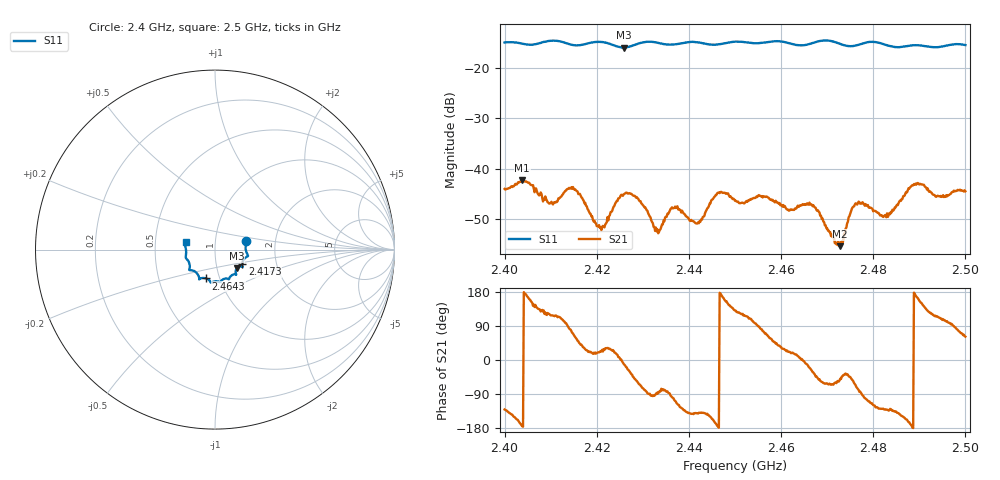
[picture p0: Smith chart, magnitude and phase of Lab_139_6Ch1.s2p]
# Hz S RI R 50
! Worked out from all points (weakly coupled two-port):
!   601 points, 2.4 GHz to 2.5 GHz, reference 50 ohm
!   highest |S21| = -42.29 dB at 2.4038 GHz (marker M1); lowest = -55.4 dB at 2.4728 GHz (marker M2)
!   lowest |S11| = -15.9 dB at 2.4258 GHz (marker M3), VSWR 1.38, Z = 62.3 - j13.2 ohm
!   |S11| at or under -10 dB: start of sweep to end of sweep
!   S12 and S22 are empty: the file has one direction only
!   S11 on the Smith chart (normalised r, x): 2.4 GHz: 1.41, +0.14; 2.4173 GHz: 1.34, -0.23; 2.4643 GHz: 0.86, -0.28; 2.5 GHz: 0.72, +0.06
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2.4e9  0.1731 0.0486  -0.00408 -0.00478  0 0  0 0
2.403833e9  0.1728 0.0271  -0.00765 -0.000704  0 0  0 0
2.41e9  0.1839 -0.0333  -0.0021 0.00402  0 0  0 0
2.414333e9  0.1639 -0.0501  0.0011 0.00625  0 0  0 0
2.416667e9  0.1527 -0.0746  0.00395 0.00336  0 0  0 0
2.417333e9  0.1516 -0.082  0.00388 0.00229  0 0  0 0
2.421167e9  0.1536 -0.0968  0.00234 0.00119  0 0  0 0
2.425833e9  0.1218 -0.1036  0.00546 -0.000971  0 0  0 0
2.429e9  0.1154 -0.1316  0.0025 -0.00436  0 0  0 0
2.433333e9  0.1129 -0.1375  0.000217 -0.00227  0 0  0 0
2.4365e9  0.0903 -0.1457  -0.000684 -0.00397  0 0  0 0
2.441667e9  0.0753 -0.1646  -0.0022 -0.00181  0 0  0 0
2.446333e9  0.0449 -0.1661  -0.00574 -0.000481  0 0  0 0
2.45e9  0.0288 -0.1809  -0.00312 0.00363  0 0  0 0
2.464333e9  -0.0499 -0.1606  0.0043 0.0001  0 0  0 0
2.466667e9  -0.076 -0.1592  0.00388 -0.00205  0 0  0 0
2.472833e9  -0.0908 -0.1486  0.0011 -0.00129  0 0  0 0
2.4765e9  -0.1216 -0.1171  0.00122 -0.00422  0 0  0 0
2.483333e9  -0.1405 -0.0901  -0.00238 -0.00251  0 0  0 0
2.489333e9  -0.163 -0.0441  -0.00677 0.00146  0 0  0 0
2.494e9  -0.1615 -0.00163  -0.00219 0.00492  0 0  0 0
2.5e9  -0.1638 0.0427  0.00282 0.00524  0 0  0 0
